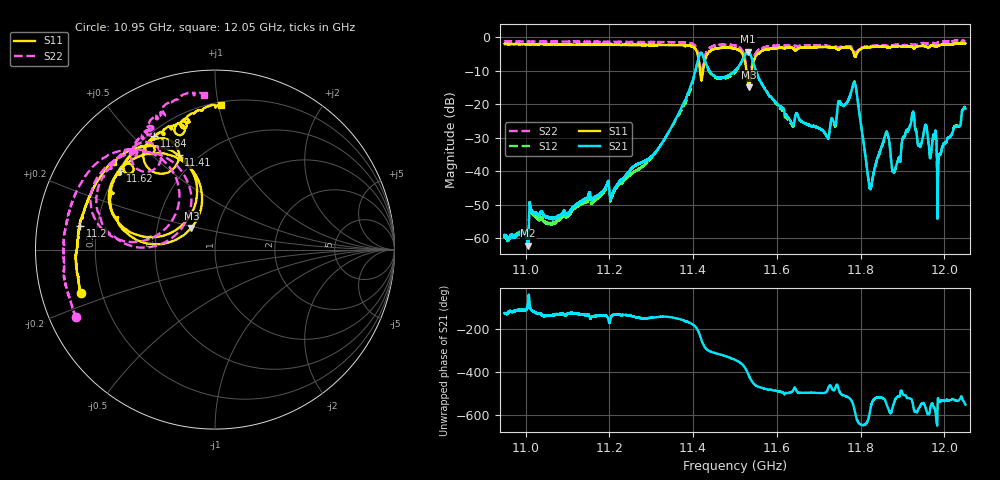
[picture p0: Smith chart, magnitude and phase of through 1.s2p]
!Agilent Technologies,E8362C,MY49020356,A.09.42.23
!Agilent E8362C: A.09.42.23
!Date: Saturday, September 11, 2021 04:03:42
!Correction: S11(Full 2 Port(1,2))
!S21(Full 2 Port(1,2))
!S12(Full 2 Port(1,2))
!S22(Full 2 Port(1,2))
!S2P File: Measurements: S11, S21, S12, S22:
# Hz S  MA  R 50
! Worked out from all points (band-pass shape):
!   32001 points, 10.95 GHz to 12.05 GHz, reference 50 ohm
!   highest |S21| = -4.39 dB at 11.53 GHz (marker M1); lowest = -62.2 dB at 11.01 GHz (marker M2)
!   |S21| within 3 dB of the highest: 11.41061 GHz to 11.42912 GHz (18.51 MHz wide, 0.162 % of centre); 11.51562 GHz to 11.54269 GHz (27.08 MHz wide, 0.235 % of centre)
!   lowest |S11| = -15.0 dB at 11.53 GHz (marker M3), VSWR 1.43, Z = 37.4 + j9.36 ohm
!   |S11| at or under -10 dB: 11.41641 GHz to 11.42395 GHz (7.533 MHz wide, 0.066 % of centre); 11.52741 GHz to 11.53961 GHz (12.21 MHz wide, 0.106 % of centre)
!   |S22| runs from -13.2 to -1.0 dB; largest |S21 - S12| = 0.035
!   S11 on the Smith chart (normalised r, x): 10.95 GHz: 0.12, -0.16; 11.2 GHz: 0.14, +0.09; 11.41 GHz: 0.40, +0.61; 11.62 GHz: 0.21, +0.35; 11.84 GHz: 0.22, +0.58; 12.05 GHz: 0.22, +1.02
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1.095e10  0.7859 -161.9  0.001089 -125.2  0.001038 -127.2  0.861 -154.2
1.100627e10  0.7786 -168.5  0.0007731 -70.2  0.0007824 -83.4  0.8549 -160.0
1.113336e10  0.7673 177.7  0.003567 -131.8  0.003229 -134.4  0.8464 -173.8
1.119929e10  0.763 169.9  0.006232 -168.3  0.005986 -168.5  0.8389 178.2
1.131668e10  0.7596 154.8  0.02153 -143.6  0.02166 -138.9  0.8397 163.0
1.141025e10  0.5643 111.1  0.4178 158.2  0.412 162.6  0.6195 122.0
1.142706e10  0.4128 169.7  0.4632 77.8  0.4435 78.4  0.4915 174.7
1.15e10  0.6724 130.3  0.3132 16.0  0.2968 19.3  0.7445 137.5
1.153135e10  0.1991 119.6  0.6034 -49.9  0.6079 -49.4  0.2399 128.0
1.153307e10  0.1786 137.3  0.5932 -57.4  0.5952 -57.1  0.2199 143.7
1.155689e10  0.5691 161.6  0.2391 -110.9  0.2399 -109.6  0.6468 166.9
1.162392e10  0.6872 140.4  0.06682 -140.1  0.06146 -138.7  0.7457 145.6
1.168336e10  0.7042 132.5  0.04693 -137.5  0.04779 -136.2  0.744 137.4
1.172086e10  0.7082 125.7  0.03123 -126.4  0.03035 -127.0  0.7397 131.2
1.178462e10  0.536 112.3  0.2113 147.0  0.2159 148.2  0.5994 120.1
1.182065e10  0.7058 121.3  0.005843 117.9  0.005961 117.6  0.7269 129.0
1.183828e10  0.7171 118.2  0.01437 -161.1  0.01401 -162.9  0.7405 126.7
1.186668e10  0.7029 113.9  0.03174 143.8  0.03044 145.8  0.7356 122.9
1.188039e10  0.7275 112.9  0.009775 179.0  0.009746 -177.7  0.7589 122.2
1.192402e10  0.7005 104.1  0.07432 174.4  0.07692 173.3  0.769 117.1
1.198713e10  0.7509 102.2  0.01729 -176.8  0.01679 -176.0  0.8203 110.8
1.205e10  0.8057 87.6  0.08545 166.6  0.08715 164.5  0.8576 93.7
